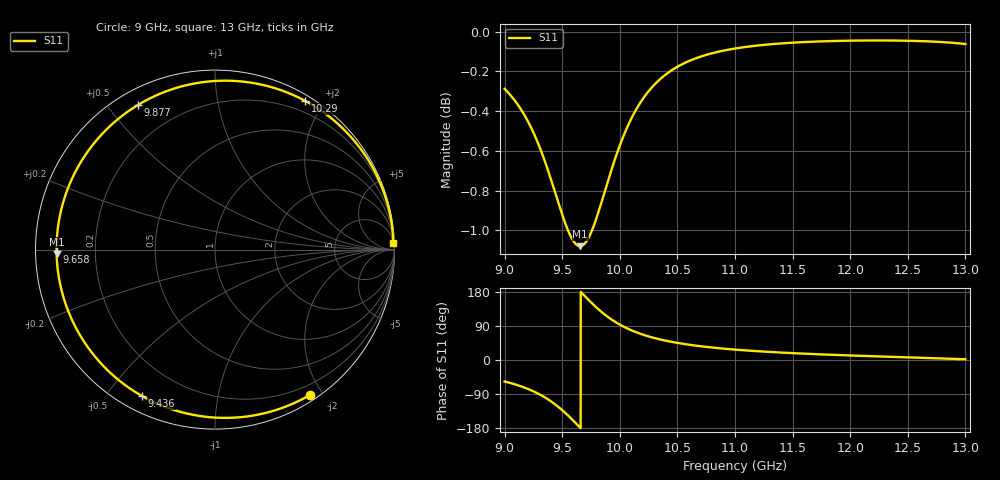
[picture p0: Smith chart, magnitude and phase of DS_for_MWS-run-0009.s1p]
! TOUCHSTONE file generated by CST DESIGN STUDIO
! Date and time: Tue Feb  4 17:15:02 2025
! Project name: C:\Work\MatlabApps\UnitCellOptimizationMatlab\CST\unitcell.cst
! Tree item: Tasks\Sweep1\SPara1\S-Parameters
! Header version: 2024
! Port assignment regex: !\s*Touchstone port\s*([0-9]+)\s*=\s*(CST MWS port|CST DES external port|CST DES block port)\s*(.+)\s* \(\"(.*)\"\)(\s*mode\s*([0-9]+))?.*
! Touchstone port assignment:
! Touchstone port 1 = CST DES external port 1 ("")
# GHz S MA R 50
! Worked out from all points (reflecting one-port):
!   4001 points, 9 GHz to 13 GHz, reference 50 ohm
!   lowest |S11| = -1.1 dB at 9.655 GHz (marker M1), VSWR 16.10, Z = 3.11 - j0.708 ohm
!   phase of S11 starts at -57 deg and turns -301 deg over the sweep
!   S11 on the Smith chart (normalised r, x): 9 GHz: 0.07, -1.85; 9.436 GHz: 0.06, -0.62; 9.658 GHz: 0.06, -0.01; 9.877 GHz: 0.06, +0.60; 10.29 GHz: 0.07, +1.78; 13 GHz: 12, +56
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9  0.9674 -56.7
9.111  0.9589 -66.3
9.222  0.9469 -78.9
9.341  0.9291 -97.1
9.39  0.9203 -106.5
9.436  0.9115 -116.5
9.5  0.8994 -132.3
9.541  0.8926 -143.6
9.584  0.887 -156.3
9.62  0.884 -167.4
9.655  0.8831 -178.4
9.658  0.8831 -179.3
9.703  0.8849 166.5
9.751  0.8901 151.8
9.814  0.9006 133.9
9.877  0.913 118.1
9.935  0.9245 105.4
10  0.9362 93.4
10.069  0.9468 82.6
10.138  0.9554 73.7
10.291  0.9691 58.7
10.5  0.9799 45.1
10.719  0.986 35.7
11  0.9903 27.4
11.5  0.9937 18.1
12  0.9948 11.9
12.5  0.9948 7.0
13  0.9929 2.0
